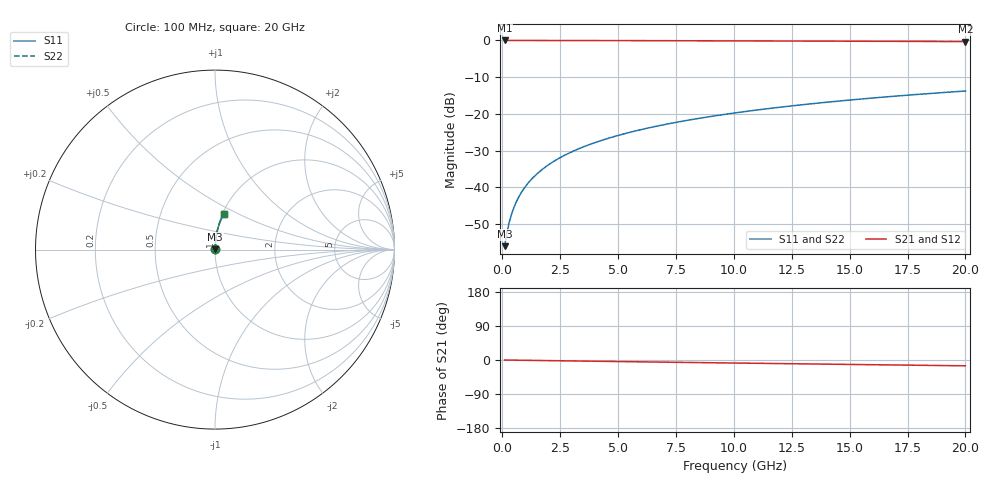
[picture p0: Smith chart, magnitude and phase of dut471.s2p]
! Touchstone file exported from HFSS 2024.1.0
!  File:  C:/UserFiles/LocalFiles/RDL_TSV_Batchsim/temp_RDL_bottom_471_1779685976.aedt
!  Generated:  01:15:30 PM May 25, 2026
!  Design:  RDL_bottom
!  Project:  temp_RDL_bottom_471_1779685976
!  Setup:  Setup1
!  Solution:  Sweep
! Variables:
!  dtsv = 10.80580581um
!  hbump = 3um
!  htsv = 97.86um
!  ldown = 151.1um
!  lrdl = 100um
!  p = 40
!  p1 = 52.94um
!  rhole = 1um
!  t = 450um
!  tdown = 3.92um
!  trdl = 3.915915916um
!  wdown = 13.2um
!  wrdl = 20um
# GHz S MA R 50.000000
! Terminal data exported
! Port[1] = RDL1_T1
! Port[2] = RDL1_T2
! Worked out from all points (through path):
!   200 points, 100 MHz to 20 GHz, reference 50 ohm
!   highest |S21| = -0.01 dB at 100 MHz (marker M1); lowest = -0.3 dB at 20 GHz (marker M2)
!   group delay of S21, straight-line fit = 2.12 ps
!   lowest |S11| = -56.0 dB at 100 MHz (marker M3), VSWR 1.00, Z = 50.1 + j0.105 ohm
!   |S11| at or under -10 dB: start of sweep to end of sweep
!   |S22| runs from -56.0 to -13.8 dB; largest |S21 - S12| = 3.2e-15
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0.1  0.001579 41.5  0.9988 -0.1  0.9988 -0.1  0.001579 41.5
! Gamma 0 0 0 0
! Port Impedance 50 0 50 0
0.2  0.002406 59.9  0.9988 -0.2  0.9988 -0.2  0.002406 59.9
0.3  0.003344 68.3  0.9988 -0.3  0.9988 -0.3  0.003344 68.3
0.4  0.004314 73.0  0.9987 -0.3  0.9987 -0.3  0.004314 73.0
0.5  0.005295 75.9  0.9987 -0.4  0.9987 -0.4  0.005295 75.9
0.6  0.006281 77.9  0.9986 -0.5  0.9986 -0.5  0.006281 77.9
0.8  0.008265 80.5  0.9986 -0.7  0.9986 -0.7  0.008265 80.5
1.1  0.01126 82.7  0.9985 -0.9  0.9985 -0.9  0.01126 82.7
1.5  0.01527 84.2  0.9983 -1.3  0.9983 -1.3  0.01527 84.2
1.8  0.01829 84.9  0.9981 -1.5  0.9981 -1.5  0.01829 84.9
2.1  0.02132 85.3  0.9979 -1.8  0.9979 -1.8  0.02132 85.3
2.7  0.02738 85.8  0.9974 -2.2  0.9974 -2.2  0.02738 85.8
3.5  0.0355 86.0  0.9966 -2.9  0.9966 -2.9  0.0355 86.0
4.2  0.04264 86.0  0.9958 -3.5  0.9958 -3.5  0.04264 86.0
5  0.05082 85.8  0.9948 -4.1  0.9948 -4.1  0.05082 85.8
5.9  0.06006 85.5  0.9934 -4.8  0.9934 -4.8  0.06006 85.5
6.8  0.06934 85.1  0.992 -5.5  0.992 -5.5  0.06934 85.1
8.3  0.08486 84.4  0.9894 -6.7  0.9894 -6.7  0.08486 84.4
10.1  0.1036 83.3  0.986 -8.1  0.986 -8.1  0.1036 83.3
13.4  0.1378 81.1  0.9793 -10.6  0.9793 -10.6  0.1378 81.0
16.7  0.1716 78.7  0.972 -13.0  0.972 -13.0  0.1716 78.7
20  0.2047 76.3  0.964 -15.3  0.964 -15.3  0.2047 76.3
